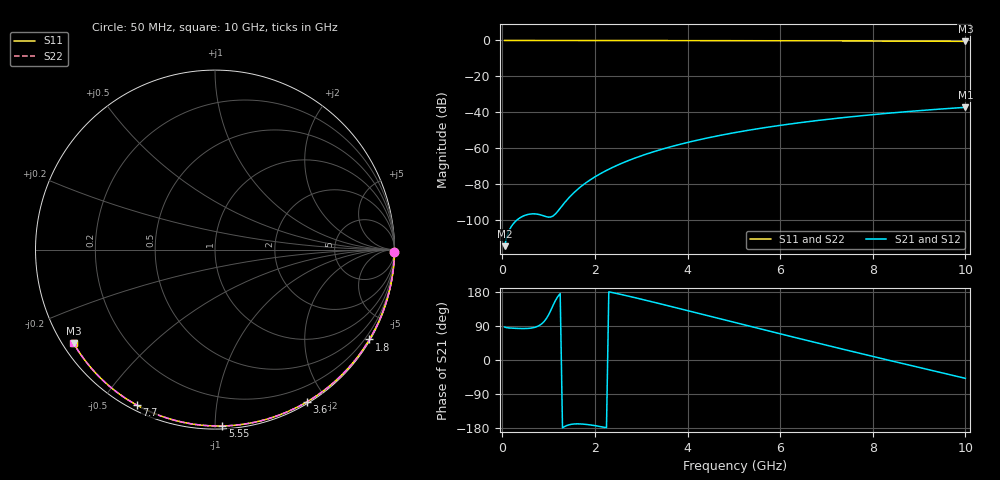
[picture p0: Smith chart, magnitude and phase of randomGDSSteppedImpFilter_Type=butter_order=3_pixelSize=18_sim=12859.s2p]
! freq	dB(S11)	phase(S11)	dB(S12)	phase(S12)
!  dB(S21)	phase(S21)	dB(S22)	phase(S22)
!S-par simulation data
#  GHz  S  DB  R 50
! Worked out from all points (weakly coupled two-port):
!   200 points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, 50 MHz to 10 GHz, reference 50 ohm
!   highest |S21| = -37.32 dB at 10 GHz (marker M1); lowest = -114.8 dB at 50 MHz (marker M2)
!   lowest |S11| = -0.5 dB at 10 GHz (marker M3), VSWR 35.18, Z = 1.55 - j15 ohm
!   |S11| at or under -10 dB: nowhere
!   |S22| runs from -0.5 to 0.0 dB; largest |S21 - S12| = 0
!   S11 on the Smith chart (normalised r, x): 50 MHz: open; 1.8 GHz: 0.03, -3.71; 3.6 GHz: 0.02, -1.77; 5.55 GHz: 0.02, -1.04; 7.7 GHz: 0.02, -0.62; 10 GHz: 0.03, -0.30
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0.05  -0.00 -0.9  -114.81 86.9  -114.81 86.9  -0.00 -0.9
0.45  -0.01 -7.7  -98.02 82.9  -98.02 82.9  -0.01 -7.7
0.9  -0.02 -15.3  -97.94 101.1  -97.94 101.1  -0.02 -15.3
1.3  -0.03 -21.9  -91.99 -179.2  -91.99 -179.2  -0.03 -22.0
1.75  -0.04 -29.4  -80.51 -169.3  -80.51 -169.3  -0.04 -29.4
1.8  -0.04 -30.2  -79.55 -169.8  -79.55 -169.8  -0.04 -30.2
1.95  -0.04 -32.6  -76.93 -172.2  -76.93 -172.2  -0.04 -32.7
2.1  -0.04 -35.1  -74.61 -175.2  -74.61 -175.2  -0.04 -35.1
2.3  -0.05 -38.3  -71.87 180.0  -71.87 180.0  -0.05 -38.4
2.5  -0.05 -41.6  -69.45 174.7  -69.45 174.7  -0.05 -41.6
2.9  -0.06 -47.9  -65.30 163.5  -65.30 163.5  -0.06 -48.0
3.4  -0.07 -55.8  -61.06 148.6  -61.06 148.6  -0.07 -55.8
3.6  -0.08 -58.9  -59.58 142.6  -59.58 142.6  -0.08 -58.9
4.3  -0.10 -69.5  -55.14 121.2  -55.14 121.2  -0.10 -69.6
5.05  -0.12 -80.5  -51.30 98.1  -51.30 98.1  -0.12 -80.6
5.55  -0.14 -87.6  -49.13 82.8  -49.13 82.8  -0.14 -87.7
6.1  -0.17 -95.3  -47.02 66.1  -47.02 66.1  -0.17 -95.4
6.7  -0.20 -103.5  -45.00 48.0  -45.00 48.0  -0.20 -103.6
7.7  -0.27 -116.8  -42.15 18.3  -42.15 18.3  -0.27 -116.9
8.35  -0.32 -125.3  -40.57 -0.8  -40.57 -0.8  -0.32 -125.4
9.2  -0.40 -136.2  -38.77 -25.4  -38.77 -25.4  -0.40 -136.3
10  -0.49 -146.5  -37.32 -48.4  -37.32 -48.4  -0.49 -146.6
